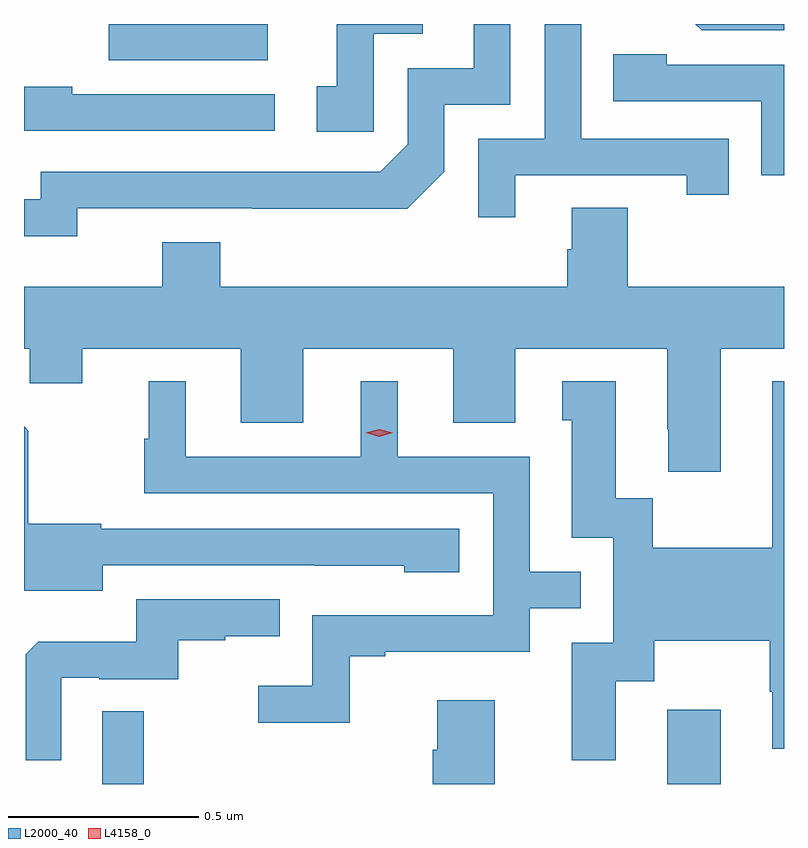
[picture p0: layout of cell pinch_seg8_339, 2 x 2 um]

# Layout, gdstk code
import gdstk
lib = gdstk.Library(unit=1e-6, precision=1e-09)
def R(c, l, rs):  # rectangles x0, y0, x1, y1
    for r in rs: c.add(gdstk.rectangle(r[:2], r[2:], *l))
def P(c, l, *ps):  # polygons
    for p in ps: c.add(gdstk.Polygon(p, *l))
L2000_40 = (2000, 40)
L4158_0 = (4158, 0)

pinch_seg8_339 = lib.new_cell('pinch_seg8_339')
R(pinch_seg8_339, L2000_40, [(399.054,1123.347,399.163,1123.538), (400.541,1123.347,400.681,1123.543), (399.071,1125.251,399.49,1125.347)])
P(pinch_seg8_339, L2000_40, [(400.141,1124.949),(400.592,1124.949),(400.592,1124.898),(400.703,1124.898),(400.703,1125.045),(400.314,1125.045),(400.314,1125.347),(400.218,1125.347),(400.218,1125.045),(400.044,1125.045),(400.044,1124.838),(400.141,1124.838)],
  [(399.768,1125.321),(399.897,1125.321),(399.897,1125.347),(399.671,1125.347),(399.671,1125.183),(399.618,1125.183),(399.618,1125.063),(399.768,1125.063)],
  [(398.988,1124.862),(399.448,1124.862),(399.448,1124.861),(399.856,1124.861),(399.954,1124.958),(399.954,1125.135),(400.128,1125.135),(400.128,1125.347),(400.031,1125.347),(400.031,1125.231),(399.858,1125.231),(399.858,1125.03),(399.786,1124.958),(398.892,1124.958),(398.892,1124.886),(398.848,1124.886),(398.848,1124.789),(398.988,1124.789)],
  [(400.848,1125.347),(400.615,1125.347),(400.632,1125.33),(400.848,1125.33)],
  [(400.848,1125.24),(400.539,1125.24),(400.539,1125.267),(400.399,1125.267),(400.399,1125.144),(400.788,1125.144),(400.788,1124.949),(400.848,1124.949)],
  [(399.508,1125.162),(398.975,1125.162),(398.975,1125.182),(398.848,1125.182),(398.848,1125.066),(399.508,1125.066)],
  [(400.681,1124.492),(400.848,1124.492),(400.848,1124.656),(400.437,1124.656),(400.437,1124.864),(400.289,1124.864),(400.289,1124.754),(400.277,1124.754),(400.277,1124.656),(399.365,1124.656),(399.365,1124.773),(399.212,1124.773),(399.212,1124.656),(398.848,1124.656),(398.848,1124.492),(398.863,1124.492),(398.863,1124.402),(399.001,1124.402),(399.001,1124.492),(399.419,1124.492),(399.419,1124.298),(399.583,1124.298),(399.583,1124.492),(399.977,1124.492),(399.977,1124.298),(400.141,1124.298),(400.141,1124.492),(400.541,1124.492),(400.541,1124.281),(400.544,1124.281),(400.544,1124.169),(400.681,1124.169)],
  [(400.405,1123.618),(400.507,1123.618),(400.507,1123.724),(400.81,1123.724),(400.81,1123.59),(400.817,1123.59),(400.817,1123.44),(400.848,1123.44),(400.848,1124.407),(400.817,1124.407),(400.817,1123.969),(400.503,1123.969),(400.503,1124.099),(400.405,1124.099),(400.405,1124.407),(400.265,1124.407),(400.265,1124.304),(400.289,1124.304),(400.289,1123.995),(400.398,1123.995),(400.398,1123.719),(400.289,1123.719),(400.289,1123.41),(400.405,1123.41)],
  [(399.705,1123.683),(399.799,1123.683),(399.799,1123.695),(400.179,1123.695),(400.179,1123.809),(400.313,1123.809),(400.313,1123.905),(400.179,1123.905),(400.179,1124.208),(399.832,1124.208),(399.832,1124.407),(399.734,1124.407),(399.734,1124.208),(399.274,1124.208),(399.274,1124.407),(399.176,1124.407),(399.176,1124.256),(399.165,1124.256),(399.165,1124.112),(400.083,1124.112),(400.083,1123.791),(399.606,1123.791),(399.606,1123.606),(399.465,1123.606),(399.465,1123.508),(399.705,1123.508)],
  [(399.055,1123.923),(399.613,1123.923),(399.613,1123.922),(399.849,1123.922),(399.849,1123.904),(399.994,1123.904),(399.994,1124.019),(399.051,1124.019),(399.051,1124.032),(398.859,1124.032),(398.859,1124.277),(398.848,1124.288),(398.848,1123.856),(399.055,1123.856)],
  [(398.946,1123.626),(399.046,1123.626),(399.046,1123.623),(399.254,1123.623),(399.254,1123.725),(399.377,1123.725),(399.377,1123.736),(399.521,1123.736),(399.521,1123.833),(399.144,1123.833),(399.144,1123.721),(398.885,1123.721),(398.853,1123.689),(398.853,1123.409),(398.946,1123.409)],
  [(400.087,1123.567),(399.935,1123.567),(399.935,1123.437),(399.923,1123.437),(399.923,1123.347),(400.087,1123.347)])
P(pinch_seg8_339, L4158_0, [(399.783,1124.261),(399.747,1124.271),(399.747,1124.271),(399.747,1124.272),(399.783,1124.281),(399.819,1124.272),(399.819,1124.271),(399.819,1124.271)])

lib.write_gds('pinch_seg8_339.gds')
